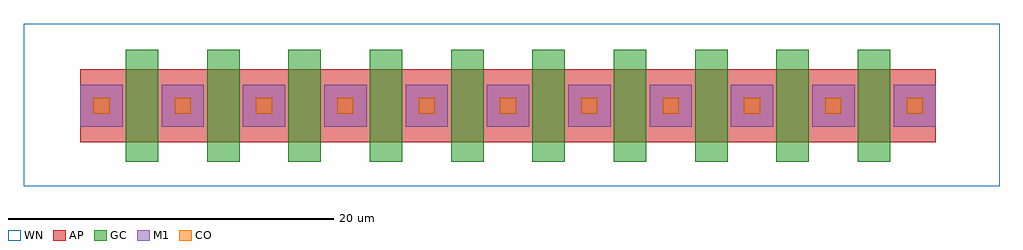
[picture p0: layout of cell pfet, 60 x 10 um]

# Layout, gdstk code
import gdstk
lib = gdstk.Library(unit=1e-6, precision=1e-09)
def R(c, l, rs):  # rectangles x0, y0, x1, y1
    for r in rs: c.add(gdstk.rectangle(r[:2], r[2:], *l))
def A(c, l, x, y, w, h, nx, ny, dx, dy):  # array of equal rectangles
    R(c, l, [(x+i*dx, y+j*dy, x+i*dx+w, y+j*dy+h) for i in range(nx) for j in range(ny)])
AP = (3, 1)
GC = (8, 1)
CO = (11, 0)
M1 = (13, 0)
WN = (140, 0)

fet_p = lib.new_cell('fet_p')
R(fet_p, AP, [(-26.3,-2.25,26.3,2.25)])
A(fet_p, CO, -25.5, -0.5, 1, 1, 11, 1, 5, 0)
A(fet_p, M1, -26.3, -1.3, 2.6, 2.6, 11, 1, 5, 0)
fet_p.add(gdstk.FlexPath([(2.5,-3.45),(2.5,3.45)], 2, ends="flush", simple_path=True, layer=8, datatype=1))  # GC
fet_p.add(gdstk.FlexPath([(-2.5,-3.45),(-2.5,3.45)], 2, ends="flush", simple_path=True, layer=8, datatype=1))  # GC
fet_p.add(gdstk.FlexPath([(7.5,-3.45),(7.5,3.45)], 2, ends="flush", simple_path=True, layer=8, datatype=1))  # GC
fet_p.add(gdstk.FlexPath([(-7.5,-3.45),(-7.5,3.45)], 2, ends="flush", simple_path=True, layer=8, datatype=1))  # GC
fet_p.add(gdstk.FlexPath([(12.5,-3.45),(12.5,3.45)], 2, ends="flush", simple_path=True, layer=8, datatype=1))  # GC
fet_p.add(gdstk.FlexPath([(-12.5,-3.45),(-12.5,3.45)], 2, ends="flush", simple_path=True, layer=8, datatype=1))  # GC
fet_p.add(gdstk.FlexPath([(17.5,-3.45),(17.5,3.45)], 2, ends="flush", simple_path=True, layer=8, datatype=1))  # GC
fet_p.add(gdstk.FlexPath([(-17.5,-3.45),(-17.5,3.45)], 2, ends="flush", simple_path=True, layer=8, datatype=1))  # GC
fet_p.add(gdstk.FlexPath([(22.5,-3.45),(22.5,3.45)], 2, ends="flush", simple_path=True, layer=8, datatype=1))  # GC
fet_p.add(gdstk.FlexPath([(-22.5,-3.45),(-22.5,3.45)], 2, ends="flush", simple_path=True, layer=8, datatype=1))  # GC

pfet = lib.new_cell('pfet')
R(pfet, WN, [(-30.769,-1.757,29.232,8.244)])
pfet.add(gdstk.Reference(fet_p, (-0.982,3.201)))

lib.write_gds('pfet.gds')
